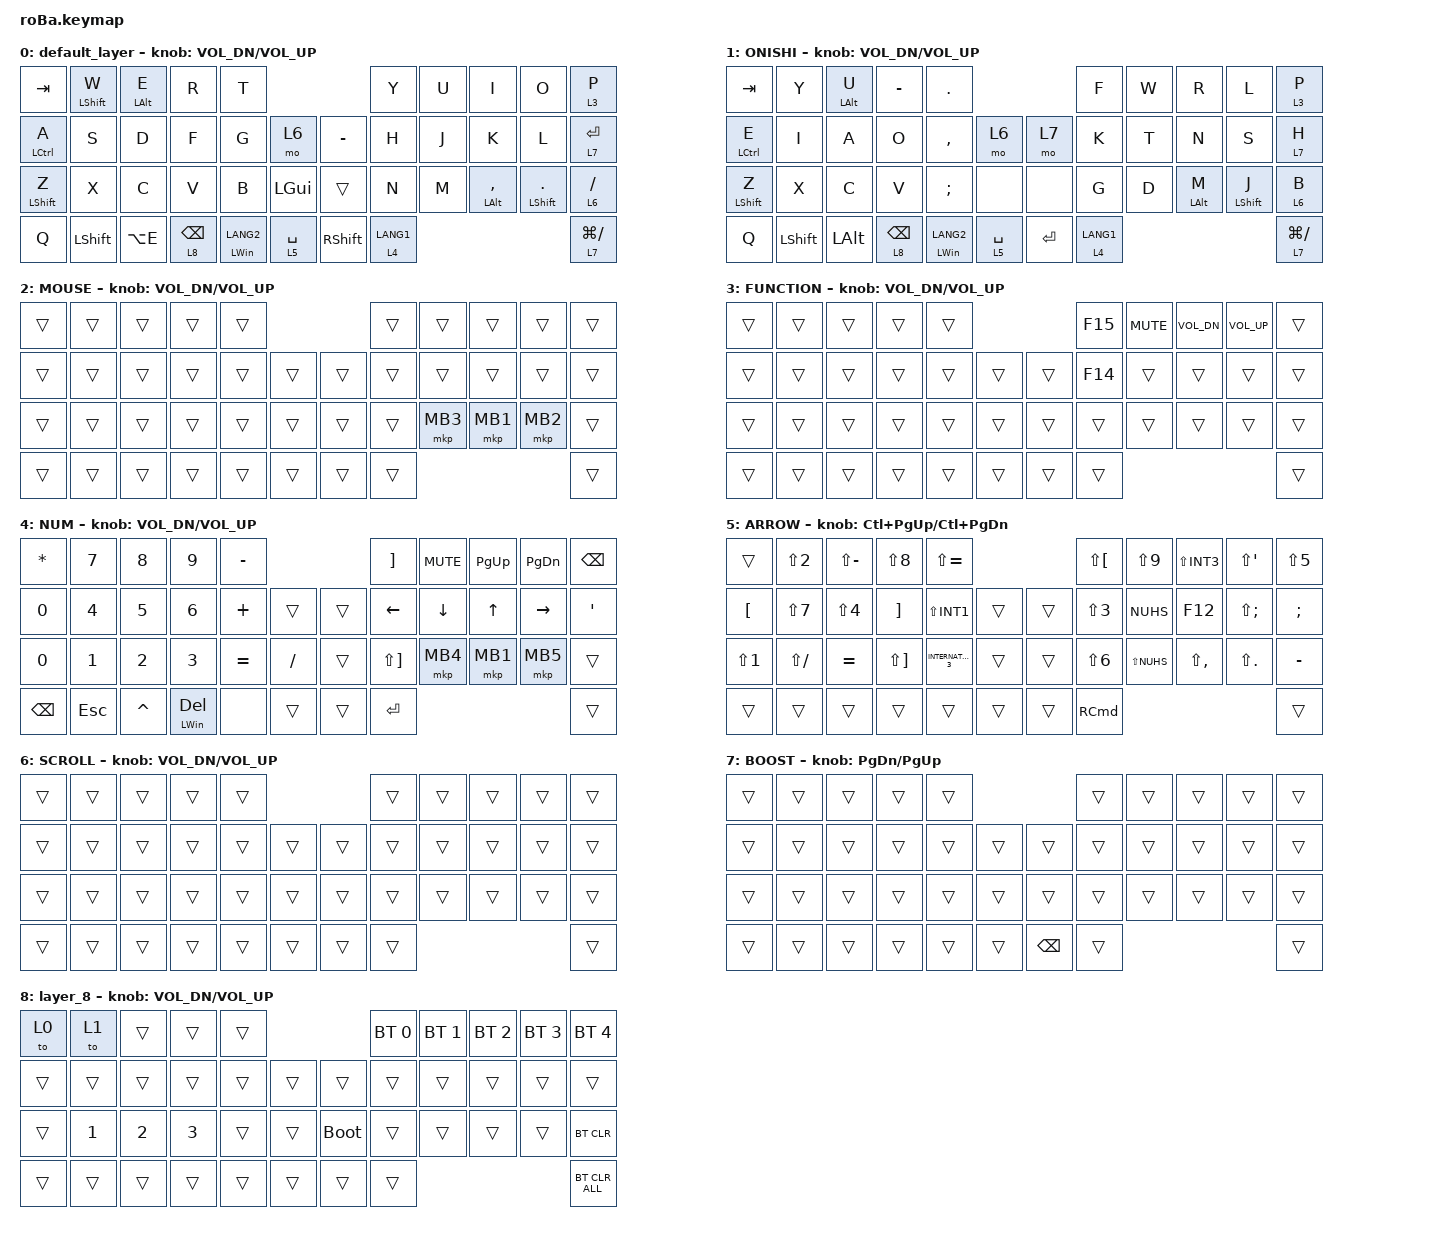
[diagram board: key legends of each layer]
#include <input/processors.dtsi>
#include <behaviors.dtsi>
#include <dt-bindings/zmk/bt.h>
#include <dt-bindings/zmk/keys.h>
#include <dt-bindings/zmk/pointing.h>

&mt {
    flavor = "balanced";
    quick-tap-ms = <0>;
};

&trackball {
    automouse-layer = <2>;
    scroll-layers = <6>;

    // arrows {
    //     layers = <5>;
    //     bindings =
    //         <&kp RIGHT_ARROW>,
    //         <&kp LEFT_ARROW>,
    //         <&kp UP_ARROW>,
    //         <&kp DOWN_ARROW>;
    //     tick = <10>;
    //     wait-ms = <5>;
    //     tap-ms = <5>;
    // };
};

&trackball_listener {
    boost {
        layers = <7>;
        input-processors = <&zip_xy_scaler 3 1>;
        process-next;
    };
};

/ {
    combos {
        compatible = "zmk,combos";

        tab {
            bindings = <&kp TAB>;
            key-positions = <11 12>;
        };

        shift_tab {
            bindings = <&kp LS(TAB)>;
            key-positions = <12 13>;
        };

        eq {
            bindings = <&kp EQUAL>;
            key-positions = <24 25>;
        };

        esc {
            bindings = <&kp ESCAPE>;
            key-positions = <19 20>;
        };

        dash {
            bindings = <&kp MINUS>;
            key-positions = <18 19>;
        };
    };

    macros {
        to_layer_0: to_layer_0 {
            compatible = "zmk,behavior-macro-one-param";
            #binding-cells = <1>;
            bindings = <&to 0 &macro_param_1to1 &kp MACRO_PLACEHOLDER>;
            label = "TO_LAYER_0";
        };
    };

    behaviors {
        encoder_msc_down_up: encoder_msc_down_up {
            compatible = "zmk,behavior-sensor-rotate";
            label = "ENC_MSC_DN_UP";
            #sensor-binding-cells = <0>;
            bindings = <&msc SCRL_DOWN>, <&msc SCRL_UP>;
        };

        bspc_bt: bspc_bt {
            compatible = "zmk,behavior-hold-tap";
            label = "BSPC_BT";
            #binding-cells = <2>;
            flavor = "tap-preferred";
            tapping-term-ms = <200>;
            quick-tap-ms = <175>;
            bindings = <&mo>, <&kp>;
        };

        lt_to_layer_0: lt_to_layer_0 {
            compatible = "zmk,behavior-hold-tap";
            label = "LAYER_TAP_TO_0";
            bindings = <&mo>, <&to_layer_0>;

            #binding-cells = <2>;
            tapping-term-ms = <200>;
        };
    };

    keymap {
        compatible = "zmk,keymap";

        default_layer {
            bindings = <
&kp TAB             &mt LEFT_SHIFT W  &mt LEFT_ALT E  &kp R                 &kp T                                                  &kp Y        &kp U  &kp I               &kp O               &lt 3 P
&mt LEFT_CONTROL A  &kp S             &kp D           &kp F                 &kp G               &mo 6             &kp MINUS        &kp H        &kp J  &kp K               &kp L               &lt 7 ENTER
&mt LEFT_SHIFT Z    &kp X             &kp C           &kp V                 &kp B               &kp LEFT_GUI      &trans           &kp N        &kp M  &mt LEFT_ALT COMMA  &mt LEFT_SHIFT DOT  &lt 6 SLASH
&kp Q               &kp LEFT_SHIFT    &kp LA(E)       &bspc_bt 8 BACKSPACE  &mt LEFT_WIN LANG2  &lt 5 SPACE       &kp RIGHT_SHIFT  &lt 4 LANG1                                                 &lt 7 LG(SLASH)
            >;

            sensor-bindings = <&inc_dec_kp C_VOL_DN C_VOL_UP>;
        };

        ONISHI {
            bindings = <
&kp TAB             &kp Y           &mt LEFT_ALT U  &kp MINUS             &kp DOT                                         &kp F        &kp W  &kp R           &kp L             &lt 3 P
&mt LEFT_CONTROL E  &kp I           &kp A           &kp O                 &kp COMMA           &mo 6            &mo 7      &kp K        &kp T  &kp N           &kp S             &lt 7 H
&mt LEFT_SHIFT Z    &kp X           &kp C           &kp V                 &kp SEMICOLON       &none            &none      &kp G        &kp D  &mt LEFT_ALT M  &mt LEFT_SHIFT J  &lt 6 B
&kp Q               &kp LEFT_SHIFT  &kp LEFT_ALT    &bspc_bt 8 BACKSPACE  &mt LEFT_WIN LANG2  &lt 5 SPACE      &kp ENTER  &lt 4 LANG1                                           &lt 7 LG(SLASH)
            >;

            sensor-bindings = <&inc_dec_kp C_VOL_DN C_VOL_UP>;
        };

        MOUSE {
            bindings = <
&trans  &trans  &trans  &trans  &trans                      &trans  &trans    &trans    &trans    &trans
&trans  &trans  &trans  &trans  &trans  &trans      &trans  &trans  &trans    &trans    &trans    &trans
&trans  &trans  &trans  &trans  &trans  &trans      &trans  &trans  &mkp MB3  &mkp MB1  &mkp MB2  &trans
&trans  &trans  &trans  &trans  &trans  &trans      &trans  &trans                                &trans
            >;

            sensor-bindings = <&inc_dec_kp C_VOL_DN C_VOL_UP>;
        };

        FUNCTION {
            bindings = <
&trans  &trans  &trans  &trans  &trans                      &kp F15  &kp C_MUTE  &kp C_VOL_DN  &kp C_VOL_UP  &trans
&trans  &trans  &trans  &trans  &trans  &trans      &trans  &kp F14  &trans      &trans        &trans        &trans
&trans  &trans  &trans  &trans  &trans  &trans      &trans  &trans   &trans      &trans        &trans        &trans
&trans  &trans  &trans  &trans  &trans  &trans      &trans  &trans                                           &trans
            >;

            sensor-bindings = <&inc_dec_kp C_VOL_DN C_VOL_UP>;
        };

        NUM {
            bindings = <
&kp ASTERISK   &kp N7      &kp N8     &kp N9               &kp MINUS                         &kp RBKT      &kp C_MUTE  &kp PAGE_UP  &kp PAGE_DOWN  &kp BACKSPACE
&kp N0         &kp N4      &kp N5     &kp N6               &kp PLUS   &trans         &trans  &kp LEFT      &kp DOWN    &kp UP       &kp RIGHT      &kp SQT
&kp NUMBER_0   &kp N1      &kp N2     &kp N3               &kp EQUAL  &kp SLASH      &trans  &kp LS(RBKT)  &mkp MB4    &mkp MB1     &mkp MB5       &trans
&kp BACKSPACE  &kp ESCAPE  &kp CARET  &mt LEFT_WIN DELETE  &none      &trans         &trans  &kp ENTER                                             &trans
            >;

            sensor-bindings = <&inc_dec_kp C_VOL_DN C_VOL_UP>;
        };

        ARROW {
            bindings = <
&trans      &kp LS(N2)     &kp LS(MINUS)  &kp LS(N8)    &kp LS(EQUAL)                            &kp LS(LBKT)       &kp LS(N9)    &kp LS(INT3)   &kp LS(SQT)        &kp LS(N5)
&kp LBKT    &kp LS(N7)     &kp LS(N4)     &kp RBKT      &kp LS(INT1)         &trans      &trans  &kp LS(N3)         &kp NUHS      &kp F12        &kp LS(SEMICOLON)  &kp SEMICOLON
&kp LS(N1)  &kp LS(SLASH)  &kp EQUAL      &kp LS(RBKT)  &kp INTERNATIONAL_3  &trans      &trans  &kp LS(N6)         &kp LS(NUHS)  &kp LS(COMMA)  &kp LS(DOT)        &kp MINUS
&trans      &trans         &trans         &trans        &trans               &trans      &trans  &kp RIGHT_COMMAND                                                  &trans
            >;

            sensor-bindings = <&inc_dec_kp LC(PAGE_UP) LC(PAGE_DOWN)>;
        };

        SCROLL {
            bindings = <
&trans  &trans  &trans  &trans  &trans                      &trans  &trans  &trans  &trans  &trans
&trans  &trans  &trans  &trans  &trans  &trans      &trans  &trans  &trans  &trans  &trans  &trans
&trans  &trans  &trans  &trans  &trans  &trans      &trans  &trans  &trans  &trans  &trans  &trans
&trans  &trans  &trans  &trans  &trans  &trans      &trans  &trans                          &trans
            >;

            sensor-bindings = <&inc_dec_kp C_VOL_DN C_VOL_UP>;
        };

        BOOST {
            bindings = <
&trans  &trans  &trans  &trans  &trans                             &trans  &trans  &trans  &trans  &trans
&trans  &trans  &trans  &trans  &trans  &trans      &trans         &trans  &trans  &trans  &trans  &trans
&trans  &trans  &trans  &trans  &trans  &trans      &trans         &trans  &trans  &trans  &trans  &trans
&trans  &trans  &trans  &trans  &trans  &trans      &kp BACKSPACE  &trans                          &trans
            >;

            sensor-bindings = <&inc_dec_kp PG_DN PG_UP>;
        };

        layer_8 {
            bindings = <
&to 0   &to 1         &trans        &trans        &trans                           &bt BT_SEL 0  &bt BT_SEL 1  &bt BT_SEL 2  &bt BT_SEL 3  &bt BT_SEL 4
&trans  &trans        &trans        &trans        &trans  &trans      &trans       &trans        &trans        &trans        &trans        &trans
&trans  &kp NUMBER_1  &kp NUMBER_2  &kp NUMBER_3  &trans  &trans      &bootloader  &trans        &trans        &trans        &trans        &bt BT_CLR
&trans  &trans        &trans        &trans        &trans  &trans      &trans       &trans                                                  &bt BT_CLR_ALL
            >;

            sensor-bindings = <&inc_dec_kp C_VOL_DN C_VOL_UP>;
        };
    };
};
